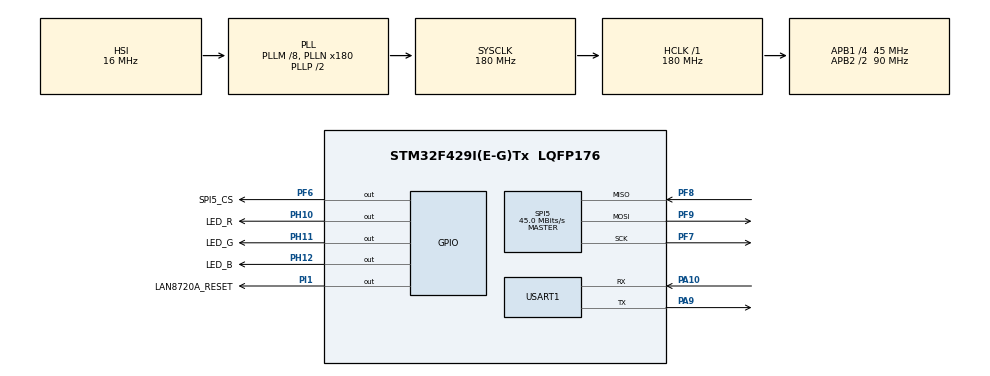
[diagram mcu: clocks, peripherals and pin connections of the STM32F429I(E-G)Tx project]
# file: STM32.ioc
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Dma.Request0=USART1_TX
Dma.Request1=USART1_RX
Dma.Request2=SPI5_TX
Dma.Request3=SPI5_RX
Dma.SPI5_RX.3.Direction=DMA_PERIPH_TO_MEMORY
Dma.SPI5_RX.3.FIFOMode=DMA_FIFOMODE_DISABLE
Dma.SPI5_RX.3.Instance=DMA2_Stream3
Dma.SPI5_RX.3.MemDataAlignment=DMA_MDATAALIGN_BYTE
Dma.SPI5_RX.3.MemInc=DMA_MINC_ENABLE
Dma.SPI5_RX.3.Mode=DMA_NORMAL
Dma.SPI5_RX.3.PeriphDataAlignment=DMA_PDATAALIGN_BYTE
Dma.SPI5_RX.3.PeriphInc=DMA_PINC_DISABLE
Dma.SPI5_RX.3.Priority=DMA_PRIORITY_MEDIUM
Dma.SPI5_TX.2.Direction=DMA_MEMORY_TO_PERIPH
Dma.SPI5_TX.2.FIFOMode=DMA_FIFOMODE_DISABLE
Dma.SPI5_TX.2.Instance=DMA2_Stream4
Dma.SPI5_TX.2.MemDataAlignment=DMA_MDATAALIGN_BYTE
Dma.SPI5_TX.2.MemInc=DMA_MINC_ENABLE
Dma.SPI5_TX.2.Mode=DMA_NORMAL
Dma.SPI5_TX.2.PeriphDataAlignment=DMA_PDATAALIGN_BYTE
Dma.SPI5_TX.2.PeriphInc=DMA_PINC_DISABLE
Dma.SPI5_TX.2.Priority=DMA_PRIORITY_LOW
Dma.USART1_RX.1.Direction=DMA_PERIPH_TO_MEMORY
Dma.USART1_RX.1.FIFOMode=DMA_FIFOMODE_DISABLE
Dma.USART1_RX.1.Instance=DMA2_Stream2
Dma.USART1_RX.1.MemDataAlignment=DMA_MDATAALIGN_BYTE
Dma.USART1_RX.1.MemInc=DMA_MINC_ENABLE
Dma.USART1_RX.1.Mode=DMA_CIRCULAR
Dma.USART1_RX.1.PeriphDataAlignment=DMA_PDATAALIGN_BYTE
Dma.USART1_RX.1.PeriphInc=DMA_PINC_DISABLE
Dma.USART1_RX.1.Priority=DMA_PRIORITY_LOW
Dma.USART1_TX.0.Direction=DMA_MEMORY_TO_PERIPH
Dma.USART1_TX.0.FIFOMode=DMA_FIFOMODE_DISABLE
Dma.USART1_TX.0.Instance=DMA2_Stream7
Dma.USART1_TX.0.MemDataAlignment=DMA_MDATAALIGN_BYTE
Dma.USART1_TX.0.MemInc=DMA_MINC_ENABLE
Dma.USART1_TX.0.Mode=DMA_NORMAL
Dma.USART1_TX.0.PeriphDataAlignment=DMA_PDATAALIGN_BYTE
Dma.USART1_TX.0.PeriphInc=DMA_PINC_DISABLE
Dma.USART1_TX.0.Priority=DMA_PRIORITY_LOW
Mcu.Family=STM32F4
Mcu.Name=STM32F429I(E-G)Tx
Mcu.Package=LQFP176
NVIC.PriorityGroup=NVIC_PRIORITYGROUP_1
NVIC.USART1_IRQn=true\:1\:6\:true\:false\:true\:true\:true\:true
PA10.Mode=Asynchronous
PA10.Signal=USART1_RX
PA13.Mode=Serial_Wire
PA13.Signal=SYS_JTMS-SWDIO
PA14.Mode=Serial_Wire
PA14.Signal=SYS_JTCK-SWCLK
PA9.Mode=Asynchronous
PA9.Signal=USART1_TX
PC14/OSC32_IN.Mode=LSE-External-Oscillator
PC14/OSC32_IN.Signal=RCC_OSC32_IN
PC15/OSC32_OUT.Mode=LSE-External-Oscillator
PC15/OSC32_OUT.Signal=RCC_OSC32_OUT
PF6.GPIO_Label=SPI5_CS
PF6.PinState=GPIO_PIN_SET
PF6.Signal=GPIO_Output
PF7.Mode=Full_Duplex_Master
PF7.Signal=SPI5_SCK
PF8.Mode=Full_Duplex_Master
PF8.Signal=SPI5_MISO
PF9.Mode=Full_Duplex_Master
PF9.Signal=SPI5_MOSI
PG13.Signal=ETH_TXD0
PG14.Signal=ETH_TXD1
PH0/OSC_IN.Mode=HSE-External-Oscillator
PH0/OSC_IN.Signal=RCC_OSC_IN
PH1/OSC_OUT.Mode=HSE-External-Oscillator
PH1/OSC_OUT.Signal=RCC_OSC_OUT
PH10.GPIO_Label=LED_R
PH10.PinState=GPIO_PIN_SET
PH10.Signal=GPIO_Output
PH11.GPIO_Label=LED_G
PH11.PinState=GPIO_PIN_SET
PH11.Signal=GPIO_Output
PH12.GPIO_Label=LED_B
PH12.PinState=GPIO_PIN_SET
PH12.Signal=GPIO_Output
PI1.GPIO_Label=LAN8720A_RESET
PI1.GPIO_PuPd=GPIO_NOPULL
PI1.GPIO_Speed=GPIO_SPEED_FREQ_LOW
PI1.Signal=GPIO_Output
ProjectManager.HeapSize=0x200
ProjectManager.StackSize=0x400
ProjectManager.TargetToolchain=MDK-ARM V5.27
RCC.48MHZClocksFreq_Value=90000000
RCC.AHBFreq_Value=180000000
RCC.APB1CLKDivider=RCC_HCLK_DIV4
RCC.APB1Freq_Value=45000000
RCC.APB1TimFreq_Value=90000000
RCC.APB2CLKDivider=RCC_HCLK_DIV2
RCC.APB2Freq_Value=90000000
RCC.APB2TimFreq_Value=180000000
RCC.CortexFreq_Value=180000000
RCC.HCLKFreq_Value=180000000
RCC.HSE_VALUE=25000000
RCC.HSI_VALUE=16000000
RCC.PLLM=8
RCC.PLLN=180
RCC.SYSCLKFreq_VALUE=180000000
RCC.SYSCLKSource=RCC_SYSCLKSOURCE_PLLCLK
RCC.VCOOutputFreq_Value=360000000
SPI5.CalculateBaudRate=45.0 MBits/s
SPI5.Direction=SPI_DIRECTION_2LINES
SPI5.Mode=SPI_MODE_MASTER
SPI5.VirtualType=VM_MASTER
USART1.VirtualMode=VM_ASYNC
board=custom

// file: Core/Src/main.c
/* USER CODE BEGIN Header */
/**
  ******************************************************************************
  * @file           : main.c
  * @brief          : Main program body
  ******************************************************************************
  * @attention
  *
  * Copyright (c) 2022 STMicroelectronics.
  * All rights reserved.
  *
  * This software is licensed under terms that can be found in the LICENSE file
  * in the root directory of this software component.
  * If no LICENSE file comes with this software, it is provided AS-IS.
  *
  ******************************************************************************
  */
/* USER CODE END Header */
#include "main.h"
#include "dma.h"
#include "spi.h"
#include "usart.h"
#include "gpio.h"

void SystemClock_Config(void);
/* USER CODE BEGIN PFP */
static en_w25qxx_status_t I_W25QXX_Init(void);
static en_w25qxx_status_t I_W25QXX_Send_Receive(const uint8_t *p_send_buff, uint8_t *p_receive_buff, uint32_t length, en_w25qxx_com_action_status_t e_com_action_status);

/* USER CODE END PFP */

int main(void)
{
    /* USER CODE BEGIN 1 */

    /* 设中断向量表 */
    NVIC_SET_VECTOR(VECT_TAB_FLASH_BASE_ADDRESS, VECT_TAB_OFFSET);

    /* USER CODE END 1 */

    /* MCU Configuration--------------------------------------------------------*/

    /* Reset of all peripherals, Initializes the Flash interface and the Systick. */
    HAL_Init();

    /* Configure the system clock */
    SystemClock_Config();

    /* Initialize all configured peripherals */
    MX_GPIO_Init();
    MX_DMA_Init();
    MX_USART1_UART_Init();
    MX_SPI5_Init();
    /* USER CODE BEGIN 2 */

#define W25QXX_NUM (1U)

    /* W25QXX 实例对象数组 */
    w25qxx_obj_t garr_w25qxx[W25QXX_NUM] = {0};

    /* 函数接口数组 */
    {
        w25qxx_interface_func_t garr_w25qxx_interface_func[W25QXX_NUM] = {{I_W25QXX_Init, I_W25QXX_Send_Receive}};

        /* 初始化第 0 个 W25QXX 实例（对象） */
        W25QXX_Init(&garr_w25qxx[0], &garr_w25qxx_interface_func[0]);
    }

    for (uint32_t i = 0; i < W25QXX_SECTOR_SIZE; i++)
    {
        garr_w25qxx_send_buff[i] = 0x2A;
    }

    W25QXX_Write(&garr_w25qxx[0], 22, garr_w25qxx_send_buff, garr_w25qxx_receive_buff, W25QXX_SECTOR_SIZE);
    W25QXX_Read(&garr_w25qxx[0], 0, garr_w25qxx_send_buff, garr_w25qxx_receive_buff, W25QXX_SECTOR_SIZE);

    W25QXX_Test(&garr_w25qxx[0], garr_w25qxx_send_buff, garr_w25qxx_receive_buff);
    /* USER CODE END 2 */

    /* Infinite loop */
    while (1)
    {

        /* USER CODE BEGIN 3 */
        HAL_GPIO_TogglePin(LED_G_GPIO_Port, LED_G_Pin);
        HAL_Delay(100);
        USART1_Printf("Hello World\r\n");
    }
    /* USER CODE END 3 */
}

void SystemClock_Config(void)
{
    RCC_OscInitTypeDef RCC_OscInitStruct = {0};
    RCC_ClkInitTypeDef RCC_ClkInitStruct = {0};

    /** Configure the main internal regulator output voltage
    */
    __HAL_RCC_PWR_CLK_ENABLE();
    __HAL_PWR_VOLTAGESCALING_CONFIG(PWR_REGULATOR_VOLTAGE_SCALE1);

    /** Initializes the RCC Oscillators according to the specified parameters
    * in the RCC_OscInitTypeDef structure.
    */
    RCC_OscInitStruct.OscillatorType = RCC_OSCILLATORTYPE_HSI;
    RCC_OscInitStruct.HSIState = RCC_HSI_ON;
    RCC_OscInitStruct.HSICalibrationValue = RCC_HSICALIBRATION_DEFAULT;
    RCC_OscInitStruct.PLL.PLLState = RCC_PLL_ON;
    RCC_OscInitStruct.PLL.PLLSource = RCC_PLLSOURCE_HSI;
    RCC_OscInitStruct.PLL.PLLM = 8;
    RCC_OscInitStruct.PLL.PLLN = 180;
    RCC_OscInitStruct.PLL.PLLP = RCC_PLLP_DIV2;
    RCC_OscInitStruct.PLL.PLLQ = 4;
    if (HAL_RCC_OscConfig(&RCC_OscInitStruct) != HAL_OK)
    {
        Error_Handler();
    }

    /** Activate the Over-Drive mode
    */
    if (HAL_PWREx_EnableOverDrive() != HAL_OK)
    {
        Error_Handler();
    }

    /** Initializes the CPU, AHB and APB buses clocks
    */
    RCC_ClkInitStruct.ClockType = RCC_CLOCKTYPE_HCLK | RCC_CLOCKTYPE_SYSCLK
                                  | RCC_CLOCKTYPE_PCLK1 | RCC_CLOCKTYPE_PCLK2;
    RCC_ClkInitStruct.SYSCLKSource = RCC_SYSCLKSOURCE_PLLCLK;
    RCC_ClkInitStruct.AHBCLKDivider = RCC_SYSCLK_DIV1;
    RCC_ClkInitStruct.APB1CLKDivider = RCC_HCLK_DIV4;
    RCC_ClkInitStruct.APB2CLKDivider = RCC_HCLK_DIV2;

    if (HAL_RCC_ClockConfig(&RCC_ClkInitStruct, FLASH_LATENCY_5) != HAL_OK)
    {
        Error_Handler();
    }
}

/* USER CODE BEGIN 4 */

/* ---------- 接口 BEGIN ---------- */
/**
  * @brief   W25QXX 初始化
  * @note    该函数应初始化与 W25QXX 通信的接口, 比如 SPI
  * @param   None
  * @return  en_w25qxx_status_t
  */
static en_w25qxx_status_t I_W25QXX_Init(void)
{
    /* 该函数应该初始化与 W25QXX 通信的接口, 比如 SPI */
    /* HAL已经帮我们初始化与 W25QXX 通信的接口了 */
    return EN_W25QXX_OK;
}

/**
  * @brief   向 W25QXX 发送 p_send_buff 和接收 W25QXX 的数据到 p_receive_buff
  * @note    该函数实现与 W25QXX 进行数据的收发, 如使用与 W25QXX 通信的接口, 比如 SPI
  * @param   p_send_buff: 发送缓冲区起始地址
  * @param   p_receive_buff: 接收缓冲区起始地址
  * @param   length: 发送/接收的数据长度, 单位: 字节
  * @param   e_com_action_status: 本次发送完毕之后是否要继续通信, 继续通信则 CS 应保持低电平
  *            @arg EN_W25QXX_CLOSE_COM: 结束通信
  *            @arg EN_W25QXX_CONTINUE_COM: 继续通信
  * @return  en_w25qxx_status_t
  */
static en_w25qxx_status_t I_W25QXX_Send_Receive(const uint8_t *p_send_buff, uint8_t *p_receive_buff, uint32_t length, en_w25qxx_com_action_status_t e_com_action_status)
{
    uint32_t timeout = 0;
    HAL_StatusTypeDef state = HAL_OK;

    HAL_GPIO_WritePin(SPI5_CS_GPIO_Port, SPI5_CS_Pin, GPIO_PIN_RESET);
    state = SPI5_DMA_Send_Receive(p_send_buff, p_receive_buff, length);

    /* 等待发送完成, 复位则代表发送完成 */
    while (__HAL_SPI_GET_FLAG(&hspi5, SPI_FLAG_BSY) == SET)
    {
        timeout++;
        if (timeout >= W25QXX_TIMEOUT)
        {
            return EN_W25QXX_TIMEOUT;
        }
    }
    /* 根据参数来设置 CS 的电平 */
    if (e_com_action_status == EN_W25QXX_CLOSE_COM)
    {
        HAL_GPIO_WritePin(SPI5_CS_GPIO_Port, SPI5_CS_Pin, GPIO_PIN_SET);
    }

    if (state == HAL_OK)
    {
        return EN_W25QXX_OK;
    }
    else
    {
        return EN_W25QXX_ERROR;
    }
}
/* ---------- 接口 END ---------- */

/* USER CODE END 4 */

void Error_Handler(void)
{
    __disable_irq();
    while (1)
    {
    }
}
